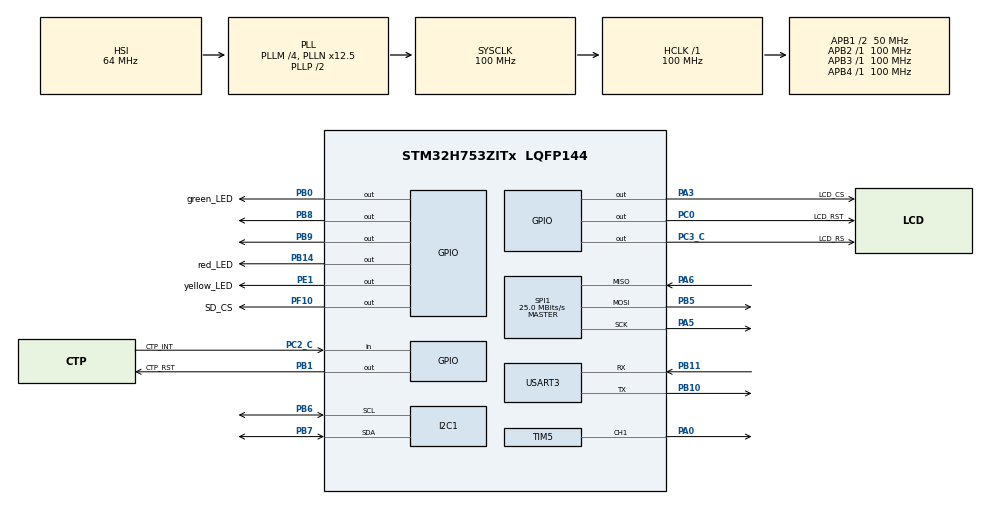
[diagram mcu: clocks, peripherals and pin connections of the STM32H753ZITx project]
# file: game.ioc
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CORTEX_M7.default_mode_Activation=1
Dma.I2C1_RX.2.Direction=DMA_PERIPH_TO_MEMORY
Dma.I2C1_RX.2.EventEnable=DISABLE
Dma.I2C1_RX.2.FIFOMode=DMA_FIFOMODE_DISABLE
Dma.I2C1_RX.2.Instance=DMA1_Stream2
Dma.I2C1_RX.2.MemDataAlignment=DMA_MDATAALIGN_BYTE
Dma.I2C1_RX.2.MemInc=DMA_MINC_ENABLE
Dma.I2C1_RX.2.Mode=DMA_NORMAL
Dma.I2C1_RX.2.PeriphDataAlignment=DMA_PDATAALIGN_BYTE
Dma.I2C1_RX.2.PeriphInc=DMA_PINC_DISABLE
Dma.I2C1_RX.2.Polarity=HAL_DMAMUX_REQ_GEN_RISING
Dma.I2C1_RX.2.Priority=DMA_PRIORITY_HIGH
Dma.I2C1_RX.2.RequestNumber=1
Dma.I2C1_RX.2.SignalID=NONE
Dma.I2C1_RX.2.SyncEnable=DISABLE
Dma.I2C1_RX.2.SyncPolarity=HAL_DMAMUX_SYNC_NO_EVENT
Dma.I2C1_RX.2.SyncRequestNumber=1
Dma.I2C1_RX.2.SyncSignalID=NONE
Dma.I2C1_TX.3.Direction=DMA_MEMORY_TO_PERIPH
Dma.I2C1_TX.3.EventEnable=DISABLE
Dma.I2C1_TX.3.FIFOMode=DMA_FIFOMODE_DISABLE
Dma.I2C1_TX.3.Instance=DMA1_Stream3
Dma.I2C1_TX.3.MemDataAlignment=DMA_MDATAALIGN_BYTE
Dma.I2C1_TX.3.MemInc=DMA_MINC_ENABLE
Dma.I2C1_TX.3.Mode=DMA_NORMAL
Dma.I2C1_TX.3.PeriphDataAlignment=DMA_PDATAALIGN_BYTE
Dma.I2C1_TX.3.PeriphInc=DMA_PINC_DISABLE
Dma.I2C1_TX.3.Polarity=HAL_DMAMUX_REQ_GEN_RISING
Dma.I2C1_TX.3.Priority=DMA_PRIORITY_HIGH
Dma.I2C1_TX.3.RequestNumber=1
Dma.I2C1_TX.3.SignalID=NONE
Dma.I2C1_TX.3.SyncEnable=DISABLE
Dma.I2C1_TX.3.SyncPolarity=HAL_DMAMUX_SYNC_NO_EVENT
Dma.I2C1_TX.3.SyncRequestNumber=1
Dma.I2C1_TX.3.SyncSignalID=NONE
Dma.Request0=SPI1_RX
Dma.Request1=SPI1_TX
Dma.Request2=I2C1_RX
Dma.Request3=I2C1_TX
Dma.Request4=USART3_RX
Dma.Request5=USART3_TX
Dma.SPI1_RX.0.Direction=DMA_PERIPH_TO_MEMORY
Dma.SPI1_RX.0.EventEnable=DISABLE
Dma.SPI1_RX.0.FIFOMode=DMA_FIFOMODE_DISABLE
Dma.SPI1_RX.0.Instance=DMA1_Stream0
Dma.SPI1_RX.0.MemDataAlignment=DMA_MDATAALIGN_BYTE
Dma.SPI1_RX.0.MemInc=DMA_MINC_ENABLE
Dma.SPI1_RX.0.Mode=DMA_NORMAL
Dma.SPI1_RX.0.PeriphDataAlignment=DMA_PDATAALIGN_BYTE
Dma.SPI1_RX.0.PeriphInc=DMA_PINC_DISABLE
Dma.SPI1_RX.0.Polarity=HAL_DMAMUX_REQ_GEN_RISING
Dma.SPI1_RX.0.Priority=DMA_PRIORITY_HIGH
Dma.SPI1_RX.0.RequestNumber=1
Dma.SPI1_RX.0.SignalID=NONE
Dma.SPI1_RX.0.SyncEnable=DISABLE
Dma.SPI1_RX.0.SyncPolarity=HAL_DMAMUX_SYNC_NO_EVENT
Dma.SPI1_RX.0.SyncRequestNumber=1
Dma.SPI1_RX.0.SyncSignalID=NONE
Dma.SPI1_TX.1.Direction=DMA_MEMORY_TO_PERIPH
Dma.SPI1_TX.1.EventEnable=DISABLE
Dma.SPI1_TX.1.FIFOMode=DMA_FIFOMODE_DISABLE
Dma.SPI1_TX.1.Instance=DMA1_Stream1
Dma.SPI1_TX.1.MemDataAlignment=DMA_MDATAALIGN_BYTE
Dma.SPI1_TX.1.MemInc=DMA_MINC_ENABLE
Dma.SPI1_TX.1.Mode=DMA_NORMAL
Dma.SPI1_TX.1.PeriphDataAlignment=DMA_PDATAALIGN_BYTE
Dma.SPI1_TX.1.PeriphInc=DMA_PINC_DISABLE
Dma.SPI1_TX.1.Polarity=HAL_DMAMUX_REQ_GEN_RISING
Dma.SPI1_TX.1.Priority=DMA_PRIORITY_HIGH
Dma.SPI1_TX.1.RequestNumber=1
Dma.SPI1_TX.1.SignalID=NONE
Dma.SPI1_TX.1.SyncEnable=DISABLE
Dma.SPI1_TX.1.SyncPolarity=HAL_DMAMUX_SYNC_NO_EVENT
Dma.SPI1_TX.1.SyncRequestNumber=1
Dma.SPI1_TX.1.SyncSignalID=NONE
Dma.USART3_RX.4.Direction=DMA_PERIPH_TO_MEMORY
Dma.USART3_RX.4.EventEnable=DISABLE
Dma.USART3_RX.4.FIFOMode=DMA_FIFOMODE_DISABLE
Dma.USART3_RX.4.Instance=DMA1_Stream4
Dma.USART3_RX.4.MemDataAlignment=DMA_MDATAALIGN_BYTE
Dma.USART3_RX.4.MemInc=DMA_MINC_ENABLE
Dma.USART3_RX.4.Mode=DMA_NORMAL
Dma.USART3_RX.4.PeriphDataAlignment=DMA_PDATAALIGN_BYTE
Dma.USART3_RX.4.PeriphInc=DMA_PINC_DISABLE
Dma.USART3_RX.4.Polarity=HAL_DMAMUX_REQ_GEN_RISING
Dma.USART3_RX.4.Priority=DMA_PRIORITY_MEDIUM
Dma.USART3_RX.4.RequestNumber=1
Dma.USART3_RX.4.SignalID=NONE
Dma.USART3_RX.4.SyncEnable=DISABLE
Dma.USART3_RX.4.SyncPolarity=HAL_DMAMUX_SYNC_NO_EVENT
Dma.USART3_RX.4.SyncRequestNumber=1
Dma.USART3_RX.4.SyncSignalID=NONE
Dma.USART3_TX.5.Direction=DMA_MEMORY_TO_PERIPH
Dma.USART3_TX.5.EventEnable=DISABLE
Dma.USART3_TX.5.FIFOMode=DMA_FIFOMODE_DISABLE
Dma.USART3_TX.5.Instance=DMA1_Stream5
Dma.USART3_TX.5.MemDataAlignment=DMA_MDATAALIGN_BYTE
Dma.USART3_TX.5.MemInc=DMA_MINC_ENABLE
Dma.USART3_TX.5.Mode=DMA_NORMAL
Dma.USART3_TX.5.PeriphDataAlignment=DMA_PDATAALIGN_BYTE
Dma.USART3_TX.5.PeriphInc=DMA_PINC_DISABLE
Dma.USART3_TX.5.Polarity=HAL_DMAMUX_REQ_GEN_RISING
Dma.USART3_TX.5.Priority=DMA_PRIORITY_MEDIUM
Dma.USART3_TX.5.RequestNumber=1
Dma.USART3_TX.5.SignalID=NONE
Dma.USART3_TX.5.SyncEnable=DISABLE
Dma.USART3_TX.5.SyncPolarity=HAL_DMAMUX_SYNC_NO_EVENT
Dma.USART3_TX.5.SyncRequestNumber=1
Dma.USART3_TX.5.SyncSignalID=NONE
FREERTOS.Tasks01=LEDTask,8,128,Start_LEDTask,Default,NULL,Dynamic,NULL,NULL;my_UARTTask,24,128,Start_UARTTask,Default,NULL,Dynamic,NULL,NULL
FREERTOS.configTOTAL_HEAP_SIZE=65536
I2C1.Timing=0x00C0EAFF
Mcu.Family=STM32H7
Mcu.Name=STM32H753ZITx
Mcu.Package=LQFP144
NVIC.DMA1_Stream0_IRQn=true\:5\:0\:false\:false\:true\:true\:false\:true\:true
NVIC.DMA1_Stream1_IRQn=true\:5\:0\:false\:false\:true\:true\:false\:true\:true
NVIC.DMA1_Stream2_IRQn=true\:5\:0\:false\:false\:true\:true\:false\:true\:true
NVIC.DMA1_Stream3_IRQn=true\:5\:0\:false\:false\:true\:true\:false\:true\:true
NVIC.DMA1_Stream4_IRQn=true\:5\:0\:false\:false\:true\:true\:false\:true\:true
NVIC.DMA1_Stream5_IRQn=true\:5\:0\:false\:false\:true\:true\:false\:true\:true
NVIC.I2C1_ER_IRQn=true\:5\:0\:false\:false\:true\:true\:true\:true\:true
NVIC.I2C1_EV_IRQn=true\:5\:0\:false\:false\:true\:true\:true\:true\:true
NVIC.PriorityGroup=NVIC_PRIORITYGROUP_4
NVIC.SPI1_IRQn=true\:5\:0\:false\:false\:true\:true\:true\:true\:true
NVIC.TIM17_IRQn=true\:15\:0\:false\:false\:true\:false\:false\:true\:true
NVIC.TimeBase=TIM17_IRQn
NVIC.TimeBaseIP=TIM17
NVIC.USART3_IRQn=true\:5\:0\:false\:false\:true\:true\:true\:true\:true
PA0.Signal=S_TIM5_CH1
PA13\ (JTMS/SWDIO).Mode=Serial_Wire
PA13\ (JTMS/SWDIO).Signal=DEBUG_JTMS-SWDIO
PA14\ (JTCK/SWCLK).Mode=Serial_Wire
PA14\ (JTCK/SWCLK).Signal=DEBUG_JTCK-SWCLK
PA3.GPIO_Label=LCD_CS
PA3.GPIO_Speed=GPIO_SPEED_FREQ_HIGH
PA3.PinState=GPIO_PIN_SET
PA3.Signal=GPIO_Output
PA5.GPIO_Speed=GPIO_SPEED_FREQ_HIGH
PA5.Mode=Full_Duplex_Master
PA5.Signal=SPI1_SCK
PA6.GPIO_Speed=GPIO_SPEED_FREQ_HIGH
PA6.Mode=Full_Duplex_Master
PA6.Signal=SPI1_MISO
PB0.GPIO_Label=green_LED
PB0.PinState=GPIO_PIN_RESET
PB0.Signal=GPIO_Output
PB1.GPIO_Label=CTP_RST
PB1.GPIO_Speed=GPIO_SPEED_FREQ_HIGH
PB1.PinState=GPIO_PIN_SET
PB1.Signal=GPIO_Output
PB10.Mode=Asynchronous
PB10.Signal=USART3_TX
PB11.Mode=Asynchronous
PB11.Signal=USART3_RX
PB14.GPIO_Label=red_LED
PB14.PinState=GPIO_PIN_RESET
PB14.Signal=GPIO_Output
PB5.GPIO_Speed=GPIO_SPEED_FREQ_HIGH
PB5.Mode=Full_Duplex_Master
PB5.Signal=SPI1_MOSI
PB6.GPIO_Speed=GPIO_SPEED_FREQ_MEDIUM
PB6.Mode=I2C
PB6.Signal=I2C1_SCL
PB7.GPIO_Speed=GPIO_SPEED_FREQ_MEDIUM
PB7.Mode=I2C
PB7.Signal=I2C1_SDA
PB8.Signal=GPIO_Output
PB9.Signal=GPIO_Output
PC0.GPIO_Label=LCD_RST
PC0.GPIO_Speed=GPIO_SPEED_FREQ_HIGH
PC0.PinState=GPIO_PIN_SET
PC0.Signal=GPIO_Output
PC2_C.GPIO_Label=CTP_INT
PC2_C.GPIO_PuPd=GPIO_PULLUP
PC2_C.Signal=GPIO_Input
PC3_C.GPIO_Label=LCD_RS
PC3_C.GPIO_Speed=GPIO_SPEED_FREQ_HIGH
PC3_C.Signal=GPIO_Output
PE1.GPIO_Label=yellow_LED
PE1.GPIO_Speed=GPIO_SPEED_FREQ_MEDIUM
PE1.PinState=GPIO_PIN_RESET
PE1.Signal=GPIO_Output
PF10.GPIO_Label=SD_CS
PF10.PinState=GPIO_PIN_SET
PF10.Signal=GPIO_Output
ProjectManager.HeapSize=0x200
ProjectManager.StackSize=0x400
ProjectManager.TargetToolchain=CMake
RCC.ADCFreq_Value=129000000
RCC.APB1Freq_Value=50000000
RCC.APB2Freq_Value=100000000
RCC.APB3Freq_Value=100000000
RCC.APB4Freq_Value=100000000
RCC.CortexFreq_Value=100000000
RCC.D2PPRE1=RCC_APB1_DIV2
RCC.DIVM1=4
RCC.DIVN1=12
RCC.HCLKFreq_Value=100000000
RCC.PLL2FRACN=0
RCC.PLL3FRACN=0
RCC.PLLFRACN=4096
RCC.SYSCLKFreq_VALUE=100000000
RCC.SYSCLKSource=RCC_SYSCLKSOURCE_PLLCLK
RCC.USBFreq_Value=100000000
SH.S_TIM5_CH1.0=TIM5_CH1,PWM Generation1 CH1
SPI1.BaudRatePrescaler=SPI_BAUDRATEPRESCALER_4
SPI1.CalculateBaudRate=25.0 MBits/s
SPI1.DataSize=SPI_DATASIZE_8BIT
SPI1.Direction=SPI_DIRECTION_2LINES
SPI1.Mode=SPI_MODE_MASTER
SPI1.NSSPMode=SPI_NSS_PULSE_DISABLE
SPI1.VirtualType=VM_MASTER
TIM5.Channel-PWM\ Generation1\ CH1=TIM_CHANNEL_1
TIM5.Period=100-1
TIM5.Prescaler=100-1
TIM5.Pulse-PWM\ Generation1\ CH1=50
USART3.VirtualMode-Asynchronous=VM_ASYNC
VP_FREERTOS_VS_CMSIS_V2.Mode=CMSIS_V2
VP_MEMORYMAP_VS_MEMORYMAP.Mode=CurAppReg
VP_SYS_VS_tim17.Mode=TIM17
VP_TIM5_VS_ClockSourceINT.Mode=Internal
board=custom

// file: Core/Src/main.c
/* USER CODE BEGIN Header */
/**
  ******************************************************************************
  * @file           : main.c
  * @brief          : Main program body
  ******************************************************************************
  * @attention
  *
  * Copyright (c) 2025 STMicroelectronics.
  * All rights reserved.
  *
  * This software is licensed under terms that can be found in the LICENSE file
  * in the root directory of this software component.
  * If no LICENSE file comes with this software, it is provided AS-IS.
  *
  ******************************************************************************
  */
/* USER CODE END Header */
#include "main.h"
#include "cmsis_os.h"
#include "dma.h"
#include "i2c.h"
#include "spi.h"
#include "tim.h"
#include "usart.h"
#include "gpio.h"

/* USER CODE BEGIN Includes */
#include "game1.h"
#include "queue.h"
#include "lvgl.h"

//#include "softSPI.h"

#include "lvgl_demo.h"
#include <string.h>
#include "stdio.h"
/* USER CODE END Includes */

/* USER CODE BEGIN PD */
uint8_t receiveData[30];
/*创建队列*/
QueueHandle_t g_xqueuescar[10];
uint8_t g_queuecont=0;
/* USER CODE END PD */

/* USER CODE BEGIN PM */

// 100MHz主频下的us延迟（替换官方delay_us）
void delay_us(uint32_t us)
{
  uint32_t ticks = us * (SystemCoreClock / 1000000); // 100MHz→ticks=us×100
  uint32_t start = SysTick->VAL;
  if (start > ticks) {
    while ((start - SysTick->VAL) < ticks);
  } else {
    while ((0xFFFFFF - SysTick->VAL + start) < ticks);
  }
  __NOP();
}

/* USER CODE END PM */

void SystemClock_Config(void);
static void MPU_Config(void);
void MX_FREERTOS_Init(void);
/* USER CODE BEGIN PFP */

extern QueueHandle_t uartQueue;

// /*注册队列*/
//通过注册和分发可以用队列实现广播的作用
void Register_queueHandle(void* QueueHandle)
{
  if (g_queuecont<10)
  {
    g_xqueuescar[g_queuecont]=QueueHandle;
    g_queuecont++;
  }
}
/*分发同一个数据给不同的队列*/
 void DispatchKey(const uint8_t * Data)
{
#if 0
  extern  QueueHandle_t g_xqueuecar1;
  extern QueueHandle_t g_xqueuecar2;
  extern  QueueHandle_t g_xqueuecar3;

  xQueueSendFromISR(g_xqueuecar1,Data,NULL);
  xQueueSendFromISR(g_xqueuecar2,Data,NULL);
  xQueueSendFromISR(g_xqueuecar3,Data,NULL);
#endif
  for (uint8_t i=0;i<g_queuecont;i++)
  {
    xQueueSendFromISR(g_xqueuescar[i],Data,NULL);

  }
}

/* USER CODE END PFP */

/* USER CODE BEGIN 0 */
uint8_t Txdata[]="接收成功__DMA\r\n";
uint8_t Rxdata[30]={0};
extern DMA_HandleTypeDef hdma_usart3_rx;    //接收DMA通道的指针地址
//接收不定长数据
//注意，DMA的传输过半中断也会触发这个回调中断函数，判断接收寄存器空的中断回调
void HAL_UARTEx_RxEventCallback(UART_HandleTypeDef *huart, uint16_t Size)//固定搭配使用
{
  if (huart== &huart3)
  {
    HAL_UART_Transmit_DMA(huart,Rxdata,Size);

    HAL_UARTEx_ReceiveToIdle_DMA(huart,Rxdata,sizeof(Rxdata));  //搭配使用
     __HAL_DMA_DISABLE_IT(&hdma_usart3_rx,DMA_IT_HT);   //关闭DMA传输过半中断
  }

}

// //固定长度的接收字节数据
// void HAL_UART_RxCpltCallback(UART_HandleTypeDef *huart)//固定搭配使用
// {
//   if (huart==&huart3)
//   {
//     HAL_UART_Transmit_DMA(huart,Txdata,sizeof(Txdata)); //搭配使用
//     HAL_UART_Receive_DMA(&huart3,Rxdata,2);
//   }
// }

// DMA发送完成回调,也是接收串口中断回调函数
void HAL_UART_TxCpltCallback(UART_HandleTypeDef *huart)
 {
   if (huart->Instance == USART3)
   {
     // 可选：用LED闪烁提示发送成功
     HAL_GPIO_TogglePin(red_LED_GPIO_Port, red_LED_Pin);
   }
 }

/* USER CODE BEGIN 4 */

/* USER CODE END 4 */

extern void car_game(void );
/* USER CODE END 0 */

int main(void)
{

  /* MPU Configuration--------------------------------------------------------*/
  MPU_Config();

  /* MCU Configuration--------------------------------------------------------*/

  /* Reset of all peripherals, Initializes the Flash interface and the Systick. */
  HAL_Init();

  /* Configure the system clock */
  SystemClock_Config();

  /* Initialize all configured peripherals */
  MX_GPIO_Init();
  MX_DMA_Init();
  MX_TIM5_Init();
  MX_USART3_UART_Init();
  MX_I2C1_Init();
  MX_SPI1_Init();

  /* Init scheduler */
  osKernelInitialize();  /* Call init function for freertos objects (in cmsis_os2.c) */
  MX_FREERTOS_Init();

  /* Start scheduler */
  osKernelStart();

  /* We should never get here as control is now taken by the scheduler */

  /* Infinite loop */
  while (1)
  {

  }
}

void SystemClock_Config(void)
{
  RCC_OscInitTypeDef RCC_OscInitStruct = {0};
  RCC_ClkInitTypeDef RCC_ClkInitStruct = {0};

  /** Supply configuration update enable
  */
  HAL_PWREx_ConfigSupply(PWR_LDO_SUPPLY);

  /** Configure the main internal regulator output voltage
  */
  __HAL_PWR_VOLTAGESCALING_CONFIG(PWR_REGULATOR_VOLTAGE_SCALE3);

  while(!__HAL_PWR_GET_FLAG(PWR_FLAG_VOSRDY)) {}

  /** Initializes the RCC Oscillators according to the specified parameters
  * in the RCC_OscInitTypeDef structure.
  */
  RCC_OscInitStruct.OscillatorType = RCC_OSCILLATORTYPE_HSI;
  RCC_OscInitStruct.HSIState = RCC_HSI_DIV1;
  RCC_OscInitStruct.HSICalibrationValue = RCC_HSICALIBRATION_DEFAULT;
  RCC_OscInitStruct.PLL.PLLState = RCC_PLL_ON;
  RCC_OscInitStruct.PLL.PLLSource = RCC_PLLSOURCE_HSI;
  RCC_OscInitStruct.PLL.PLLM = 4;
  RCC_OscInitStruct.PLL.PLLN = 12;
  RCC_OscInitStruct.PLL.PLLP = 2;
  RCC_OscInitStruct.PLL.PLLQ = 2;
  RCC_OscInitStruct.PLL.PLLR = 2;
  RCC_OscInitStruct.PLL.PLLRGE = RCC_PLL1VCIRANGE_3;
  RCC_OscInitStruct.PLL.PLLVCOSEL = RCC_PLL1VCOWIDE;
  RCC_OscInitStruct.PLL.PLLFRACN = 4096;
  if (HAL_RCC_OscConfig(&RCC_OscInitStruct) != HAL_OK)
  {
    Error_Handler();
  }

  /** Initializes the CPU, AHB and APB buses clocks
  */
  RCC_ClkInitStruct.ClockType = RCC_CLOCKTYPE_HCLK|RCC_CLOCKTYPE_SYSCLK
                              |RCC_CLOCKTYPE_PCLK1|RCC_CLOCKTYPE_PCLK2
                              |RCC_CLOCKTYPE_D3PCLK1|RCC_CLOCKTYPE_D1PCLK1;
  RCC_ClkInitStruct.SYSCLKSource = RCC_SYSCLKSOURCE_PLLCLK;
  RCC_ClkInitStruct.SYSCLKDivider = RCC_SYSCLK_DIV1;
  RCC_ClkInitStruct.AHBCLKDivider = RCC_HCLK_DIV1;
  RCC_ClkInitStruct.APB3CLKDivider = RCC_APB3_DIV1;
  RCC_ClkInitStruct.APB1CLKDivider = RCC_APB1_DIV2;
  RCC_ClkInitStruct.APB2CLKDivider = RCC_APB2_DIV1;
  RCC_ClkInitStruct.APB4CLKDivider = RCC_APB4_DIV1;

  if (HAL_RCC_ClockConfig(&RCC_ClkInitStruct, FLASH_LATENCY_2) != HAL_OK)
  {
    Error_Handler();
  }
}

 /* MPU Configuration */

void MPU_Config(void)
{
  MPU_Region_InitTypeDef MPU_InitStruct = {0};

  /* Disables the MPU */
  HAL_MPU_Disable();

  /** Initializes and configures the Region and the memory to be protected
  */
  MPU_InitStruct.Enable = MPU_REGION_ENABLE;
  MPU_InitStruct.Number = MPU_REGION_NUMBER0;
  MPU_InitStruct.BaseAddress = 0x0;
  MPU_InitStruct.Size = MPU_REGION_SIZE_4GB;
  MPU_InitStruct.SubRegionDisable = 0x87;
  MPU_InitStruct.TypeExtField = MPU_TEX_LEVEL0;
  MPU_InitStruct.AccessPermission = MPU_REGION_NO_ACCESS;
  MPU_InitStruct.DisableExec = MPU_INSTRUCTION_ACCESS_DISABLE;
  MPU_InitStruct.IsShareable = MPU_ACCESS_SHAREABLE;
  MPU_InitStruct.IsCacheable = MPU_ACCESS_NOT_CACHEABLE;
  MPU_InitStruct.IsBufferable = MPU_ACCESS_NOT_BUFFERABLE;

  HAL_MPU_ConfigRegion(&MPU_InitStruct);
  /* Enables the MPU */
  HAL_MPU_Enable(MPU_PRIVILEGED_DEFAULT);

}

void HAL_TIM_PeriodElapsedCallback(TIM_HandleTypeDef *htim)
{
  if (htim->Instance == TIM17)
  {
    HAL_IncTick();
  }
  /* USER CODE BEGIN Callback 1 */
  if (htim->Instance == TIM17)
  {
    lv_tick_inc(1);
  }
  /* USER CODE END Callback 1 */
}

void Error_Handler(void)
{
  __disable_irq();
  while (1)
  {
  }
}

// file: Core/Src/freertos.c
/* USER CODE BEGIN Header */
/**
  ******************************************************************************
  * File Name          : freertos.c
  * Description        : Code for freertos applications
  ******************************************************************************
  * @attention
  *
  * Copyright (c) 2025 STMicroelectronics.
  * All rights reserved.
  *
  * This software is licensed under terms that can be found in the LICENSE file
  * in the root directory of this software component.
  * If no LICENSE file comes with this software, it is provided AS-IS.
  *
  ******************************************************************************
  */
/* USER CODE END Header */

#include "FreeRTOS.h"
#include "task.h"
#include "main.h"
#include "cmsis_os.h"

/* USER CODE BEGIN Includes */
#include "event_groups.h"
#include "string.h"
#include "font.h"
#include "usart.h"
#include "music.h"
#include "queue.h"
#include "tim.h"
#include "lvgl.h"
#include "lvgl_demo.h"
#include "lcd.h"
#include "touch.h"
#include "lvgl_private.h"
#include "lv_global.h"
#include "event_groups.h"

/* USER CODE END Includes */

/* USER CODE BEGIN PTD */
EventGroupHandle_t EventGroup_hadle;
BaseType_t lvglTask_state;
BaseType_t musicTask_state;
TaskHandle_t* musictaskhander=NULL;
UBaseType_t pri_music=osPriorityNormal;

TaskHandle_t* PWM_LEDhander=NULL;
TaskHandle_t* lvgl_hander=NULL;

TaskHandle_t* task1hander=NULL;
TaskHandle_t* task2hander=NULL;

/* USER CODE END PTD */

/* Definitions for LEDTask */
osThreadId_t LEDTaskHandle;
const osThreadAttr_t LEDTask_attributes = {
  .name = "LEDTask",
  .stack_size = 128 * 4,
  .priority = (osPriority_t) osPriorityNormal,
};
/* Definitions for my_UARTTask */
osThreadId_t my_UARTTaskHandle;
const osThreadAttr_t my_UARTTask_attributes = {
  .name = "my_UARTTask",
  .stack_size = 128 * 4,
  .priority = (osPriority_t) osPriorityNormal,
};

/* USER CODE BEGIN FunctionPrototypes */
void musicTask(void* );
void PWMLED_TasK(void*);
void task1(void* priam);
void task2(void* priam);
void lvgl_task(void *argument);
/* USER CODE END FunctionPrototypes */

void Start_LEDTask(void *argument);
void Start_UARTTask(void *argument);

void MX_FREERTOS_Init(void); /* (MISRA C 2004 rule 8.1) */

void MX_FREERTOS_Init(void) {

  /* Create the thread(s) */
  /* creation of LEDTask */
  LEDTaskHandle = osThreadNew(Start_LEDTask, NULL, &LEDTask_attributes);

  /* creation of my_UARTTask */
  my_UARTTaskHandle = osThreadNew(Start_UARTTask, NULL, &my_UARTTask_attributes);

  /* USER CODE BEGIN RTOS_THREADS */

  //创建LVGL的DEMO任务
   lvglTask_state=xTaskCreate(lvgl_demo_task,"lvgl_demo",4096,NULL,osPriorityNormal+1,lvgl_hander);
 // if (lvglTask_state!=pdPASS)
 // {
 //   printf("lvgl创建任务失败！！");
 // }

  /* add threads, ... */
  /* USER CODE END RTOS_THREADS */

}

void Start_LEDTask(void *argument)
{
  /* USER CODE BEGIN Start_LEDTask */
  /* Infinite loop */

  for(;;)
  {
  //  FT6336_Scan();
    HAL_GPIO_TogglePin(yellow_LED_GPIO_Port, yellow_LED_Pin);
    HAL_GPIO_WritePin(green_LED_GPIO_Port, green_LED_Pin, GPIO_PIN_SET);

     vTaskDelay(500);
    osDelay(1);
  }
  /* USER CODE END Start_LEDTask */
}

/* USER CODE BEGIN Header_Start_UARTTask */
/**
* @brief Function implementing the my_UARTTask thread.
* @param argument: Not used
* @retval None
*/

extern uint8_t Rxdata[30];

/* USER CODE END Header_Start_UARTTask */
void Start_UARTTask(void *argument)
{
  /* USER CODE BEGIN Start_UARTTask */
  // 添加短暂延迟，确保串口硬件稳定后再发送数据
  osDelay(100);
  uint8_t Txxxxdata[]="发送__DMA\r\n";
  /*创建队列*/
  //QueueHandle_t uartQueue=xQueueCreate(10,sizeof(ID));
  /* Infinite loop */
  extern DMA_HandleTypeDef hdma_usart3_rx;    //接收DMA通道的指针地址
  HAL_UARTEx_ReceiveToIdle_DMA(&huart3,Rxdata,sizeof(Rxdata));
  __HAL_DMA_DISABLE_IT(&hdma_usart3_rx,DMA_IT_HT);
  for(;;)
  {
    //HAL_GPIO_WritePin(SPI1_MOSI_GPIO_Port, SPI1_MOSI_Pin, GPIO_PIN_SET);
    //HAL_UART_Transmit_DMA(&huart3,Txxxxdata,sizeof(Txxxxdata));
    // printf("__io_putchar!!!!\r\n");

    // printf("Hello World!\r\n");

    osDelay(50);  // 延迟可保留，此时不会再导致冲突
  }

  /* USER CODE END Start_UARTTask */
}
